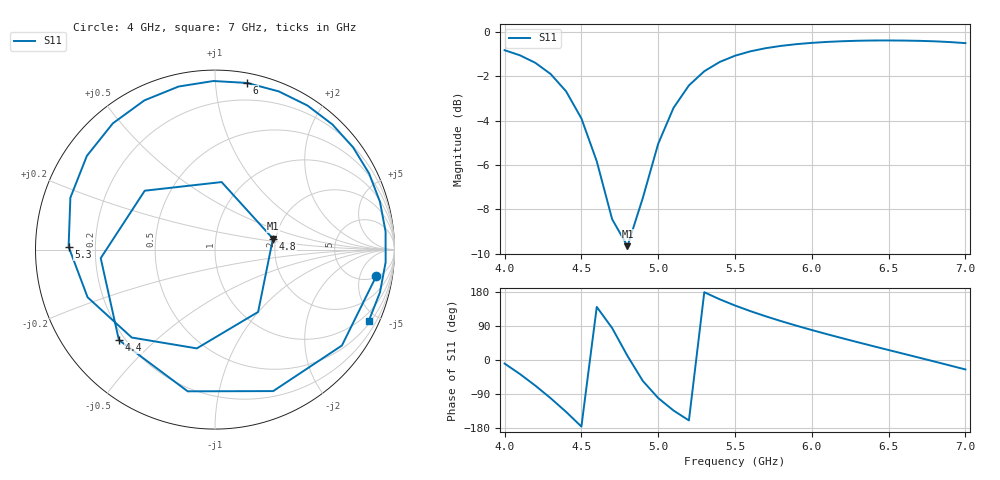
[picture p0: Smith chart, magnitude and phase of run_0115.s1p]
! Touchstone file exported from HFSS 2024.2.0
!  File:  C:/Users/wsak9/Desktop/Sim Fast/Widenad Patch/WP_AI_V1_sweep.aedt
!  Generated:  07:42:11 PM Oct 13, 2026
!  Design:  A1_model
!  Project:  WP_AI_V1_sweep
!  Setup:  Setup1
!  Solution:  Sweep
! Variables:
!  Air_gap = 4.48mm
!  Curve_Amp1 = 1.22
!  Curve_len1 = 1
!  Curve_pos = 12.235mm
!  Extra = 3.16mm
!  H_sub = 0.79mm
!  L_Patch = 20.47mm
!  L_Patch1 = 12.63mm
!  Sx = 2.46mm
!  Sy = 3.98mm
!  WS = 0.61mm
!  W_Patch = 20.5mm
!  W_Patch1 = 9.47mm
!Data is not renormalized
# GHz S MA
! Terminal data exported
! Port[1] = 1
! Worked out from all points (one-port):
!   31 points, 4 GHz to 7 GHz, reference per port
!   lowest |S11| = -9.7 dB at 4.8 GHz (marker M1), VSWR 1.98
!   |S11| at or under -10 dB: nowhere
!   S11 on the Smith chart (normalised r, x): 4 GHz: 5, -9; 4.4 GHz: 0.18, -0.39; 4.8 GHz: 1.93, +0.26; 5.3 GHz: 0.10, +0.01; 6 GHz: 0.07, +1.21; 7 GHz: 0.60, -4.44
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4  0.9103 -9.4
4.1  0.8863 -37.1
4.2  0.8524 -67.6
4.3  0.8041 -100.9
4.4  0.7352 -136.7
4.5  0.6385 -175.7
4.6  0.5108 140.0
4.7  0.3781 84.4
4.8  0.3285 10.7
4.9  0.4224 -55.3
5  0.5597 -100.4
5.1  0.6747 -133.4
5.2  0.7579 -159.5
5.3  0.8158 178.9
5.4  0.8561 160.3
5.5  0.8845 143.8
5.6  0.9049 129.0
5.7  0.9198 115.3
5.8  0.931 102.6
5.9  0.9393 90.6
6  0.9456 79.1
6.1  0.9504 68.0
6.3  0.9561 46.8
6.5  0.9575 26.3
6.7  0.9556 6.0
6.8  0.9533 -4.2
6.9  0.9495 -14.5
7  0.9444 -24.9
